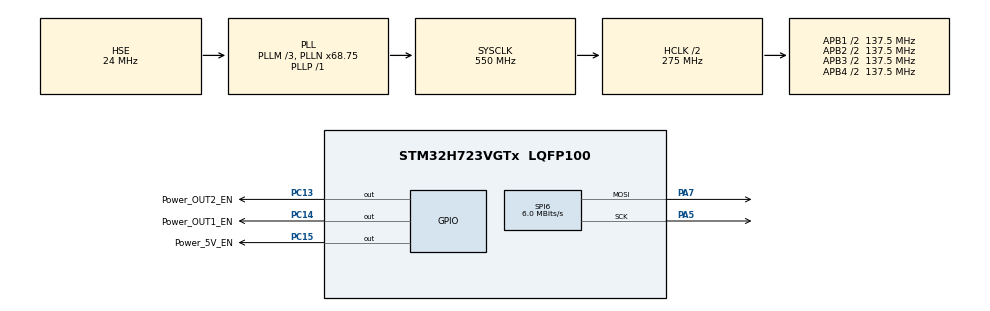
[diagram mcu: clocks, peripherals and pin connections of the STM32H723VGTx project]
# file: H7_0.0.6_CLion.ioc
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CORTEX_M7.CPU_ICache=Enabled
CORTEX_M7.MPU_Control=__NULL
CORTEX_M7.default_mode_Activation=1
Mcu.Family=STM32H7
Mcu.Name=STM32H723VGTx
Mcu.Package=LQFP100
NVIC.PriorityGroup=NVIC_PRIORITYGROUP_4
PA13(JTMS/SWDIO).Mode=Serial_Wire
PA13(JTMS/SWDIO).Signal=DEBUG_JTMS-SWDIO
PA14(JTCK/SWCLK).Mode=Serial_Wire
PA14(JTCK/SWCLK).Signal=DEBUG_JTCK-SWCLK
PA5.Mode=TX_Only_Simplex_Unidirect_Master
PA5.Signal=SPI6_SCK
PA7.Mode=TX_Only_Simplex_Unidirect_Master
PA7.Signal=SPI6_MOSI
PC13.GPIO_Label=Power_OUT2_EN
PC13.Signal=GPIO_Output
PC14-OSC32_IN.GPIO_Label=Power_OUT1_EN
PC14-OSC32_IN.Signal=GPIO_Output
PC15-OSC32_OUT.GPIO_Label=Power_5V_EN
PC15-OSC32_OUT.Signal=GPIO_Output
PH0-OSC_IN.Mode=HSE-External-Oscillator
PH0-OSC_IN.Signal=RCC_OSC_IN
PH1-OSC_OUT.Mode=HSE-External-Oscillator
PH1-OSC_OUT.Signal=RCC_OSC_OUT
ProjectManager.HeapSize=0x200
ProjectManager.StackSize=0x400
ProjectManager.TargetToolchain=STM32CubeIDE
RCC.ADCFreq_Value=48375000
RCC.APB1Freq_Value=137500000
RCC.APB2Freq_Value=137500000
RCC.APB3Freq_Value=137500000
RCC.APB4Freq_Value=137500000
RCC.CortexFreq_Value=550000000
RCC.D1PPRE=RCC_APB3_DIV2
RCC.D2PPRE1=RCC_APB1_DIV2
RCC.D2PPRE2=RCC_APB2_DIV2
RCC.D3PPRE=RCC_APB4_DIV2
RCC.DIVM1=3
RCC.DIVN1=68
RCC.DIVP1=1
RCC.HCLKFreq_Value=275000000
RCC.HPRE=RCC_HCLK_DIV2
RCC.HSE_VALUE=24000000
RCC.PLL2FRACN=0
RCC.PLL3FRACN=0
RCC.PLLFRACN=6144
RCC.PLLSourceVirtual=RCC_PLLSOURCE_HSE
RCC.SPI6CLockSelection=RCC_SPI6CLKSOURCE_HSE
RCC.SYSCLKFreq_VALUE=550000000
RCC.SYSCLKSource=RCC_SYSCLKSOURCE_PLLCLK
RCC.USBFreq_Value=275000000
SPI6.BaudRatePrescaler=SPI_BAUDRATEPRESCALER_4
SPI6.CLKPhase=SPI_PHASE_2EDGE
SPI6.CalculateBaudRate=6.0 MBits/s
SPI6.DataSize=SPI_DATASIZE_8BIT
SPI6.Direction=SPI_DIRECTION_2LINES_TXONLY
SPI6.Mode=SPI_MODE_MASTER
SPI6.VirtualType=VM_MASTER
VP_MEMORYMAP_VS_MEMORYMAP.Mode=CurAppReg
board=custom

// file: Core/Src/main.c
/* USER CODE BEGIN Header */
/**
  ******************************************************************************
  * @file           : main.c
  * @brief          : Main program body
  ******************************************************************************
  * @attention
  *
  * Copyright (c) 2026 STMicroelectronics.
  * All rights reserved.
  *
  * This software is licensed under terms that can be found in the LICENSE file
  * in the root directory of this software component.
  * If no LICENSE file comes with this software, it is provided AS-IS.
  *
  ******************************************************************************
  */
/* USER CODE END Header */
#include "main.h"
#include "spi.h"
#include "gpio.h"

/* USER CODE BEGIN Includes */
#include "ws2812.h"
/* USER CODE END Includes */

void SystemClock_Config(void);

/* USER CODE BEGIN 0 */
uint8_t r = 0;
uint8_t g = 0;
uint8_t b = 0;
/* USER CODE END 0 */

int main(void)
{

  /* Enable the CPU Cache */

  /* Enable I-Cache---------------------------------------------------------*/
  SCB_EnableICache();

  /* MCU Configuration--------------------------------------------------------*/

  /* Reset of all peripherals, Initializes the Flash interface and the Systick. */
  HAL_Init();

  /* Configure the system clock */
  SystemClock_Config();

  /* Initialize all configured peripherals */
  MX_GPIO_Init();
  MX_SPI6_Init();

  /* Infinite loop */
  while (1)
  {

    /* USER CODE BEGIN 3 */
    r = 255;
    g = 0;
    b = 0;
    WS2812_Ctrl(r, g, b);
    HAL_Delay(200);
    r = 255;
    g = 255;
    b = 0;
    WS2812_Ctrl(r, g, b);
    HAL_Delay(200);
    r = 0;
    g = 255;
    b = 0;
    WS2812_Ctrl(r, g, b);
    HAL_Delay(200);
    r = 0;
    g = 255;
    b = 255;
    WS2812_Ctrl(r, g, b);
    HAL_Delay(200);
    r = 0;
    g = 0;
    b = 255;
    WS2812_Ctrl(r, g, b);
    HAL_Delay(200);
    r = 255;
    g = 0;
    b = 255;
    WS2812_Ctrl(r, g, b);
    HAL_Delay(200);

    // r++;
    // g += 5;
    // b += 10;
    // HAL_Delay(1);
    // r++;g++;b++;
    // HAL_Delay(100);

  }
  /* USER CODE END 3 */
}

void SystemClock_Config(void)
{
  RCC_OscInitTypeDef RCC_OscInitStruct = {0};
  RCC_ClkInitTypeDef RCC_ClkInitStruct = {0};

  /** Supply configuration update enable
  */
  HAL_PWREx_ConfigSupply(PWR_LDO_SUPPLY);

  /** Configure the main internal regulator output voltage
  */
  __HAL_PWR_VOLTAGESCALING_CONFIG(PWR_REGULATOR_VOLTAGE_SCALE0);

  while(!__HAL_PWR_GET_FLAG(PWR_FLAG_VOSRDY)) {}

  /** Initializes the RCC Oscillators according to the specified parameters
  * in the RCC_OscInitTypeDef structure.
  */
  RCC_OscInitStruct.OscillatorType = RCC_OSCILLATORTYPE_HSE;
  RCC_OscInitStruct.HSEState = RCC_HSE_ON;
  RCC_OscInitStruct.PLL.PLLState = RCC_PLL_ON;
  RCC_OscInitStruct.PLL.PLLSource = RCC_PLLSOURCE_HSE;
  RCC_OscInitStruct.PLL.PLLM = 3;
  RCC_OscInitStruct.PLL.PLLN = 68;
  RCC_OscInitStruct.PLL.PLLP = 1;
  RCC_OscInitStruct.PLL.PLLQ = 2;
  RCC_OscInitStruct.PLL.PLLR = 2;
  RCC_OscInitStruct.PLL.PLLRGE = RCC_PLL1VCIRANGE_3;
  RCC_OscInitStruct.PLL.PLLVCOSEL = RCC_PLL1VCOWIDE;
  RCC_OscInitStruct.PLL.PLLFRACN = 6144;
  if (HAL_RCC_OscConfig(&RCC_OscInitStruct) != HAL_OK)
  {
    Error_Handler();
  }

  /** Initializes the CPU, AHB and APB buses clocks
  */
  RCC_ClkInitStruct.ClockType = RCC_CLOCKTYPE_HCLK|RCC_CLOCKTYPE_SYSCLK
                              |RCC_CLOCKTYPE_PCLK1|RCC_CLOCKTYPE_PCLK2
                              |RCC_CLOCKTYPE_D3PCLK1|RCC_CLOCKTYPE_D1PCLK1;
  RCC_ClkInitStruct.SYSCLKSource = RCC_SYSCLKSOURCE_PLLCLK;
  RCC_ClkInitStruct.SYSCLKDivider = RCC_SYSCLK_DIV1;
  RCC_ClkInitStruct.AHBCLKDivider = RCC_HCLK_DIV2;
  RCC_ClkInitStruct.APB3CLKDivider = RCC_APB3_DIV2;
  RCC_ClkInitStruct.APB1CLKDivider = RCC_APB1_DIV2;
  RCC_ClkInitStruct.APB2CLKDivider = RCC_APB2_DIV2;
  RCC_ClkInitStruct.APB4CLKDivider = RCC_APB4_DIV2;

  if (HAL_RCC_ClockConfig(&RCC_ClkInitStruct, FLASH_LATENCY_3) != HAL_OK)
  {
    Error_Handler();
  }
}

void Error_Handler(void)
{
  __disable_irq();
  while (1)
  {
  }
}
